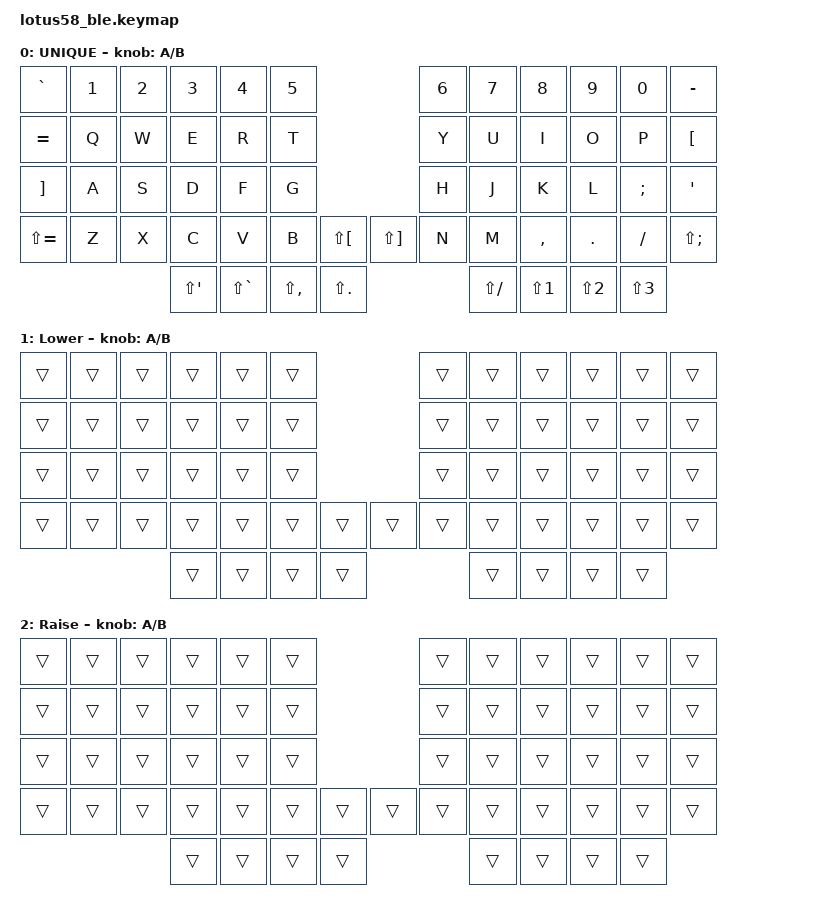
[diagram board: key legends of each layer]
// SPDX-License-Identifier: MIT

#include <behaviors.dtsi>
#include <dt-bindings/zmk/keys.h>
#include <dt-bindings/zmk/bt.h>
#include <dt-bindings/zmk/outputs.h>

/ {
    keymap {
        compatible = "zmk,keymap";

        // Every layer must hold exactly 58 bindings, matching keymap_transform_0:
        // 12 + 12 + 12 + 14 (row 4 carries the inner thumb key of both halves) + 8.
        // The default layer assigns a unique keycode to every position so that a
        // single press identifies the position it came from.
        default_layer {
            bindings = <
                &kp GRAVE     &kp N1  &kp N2  &kp N3  &kp N4  &kp N5                                    &kp N6  &kp N7    &kp N8    &kp N9  &kp N0     &kp MINUS
                &kp EQUAL     &kp Q   &kp W   &kp E   &kp R   &kp T                                     &kp Y   &kp U     &kp I     &kp O   &kp P      &kp LBKT
                &kp RBKT      &kp A   &kp S   &kp D   &kp F   &kp G                                     &kp H   &kp J     &kp K     &kp L   &kp SEMI   &kp SQT
                &kp LS(EQUAL) &kp Z   &kp X   &kp C   &kp V   &kp B   &kp LS(LBKT)    &kp LS(RBKT)      &kp N   &kp M     &kp COMMA &kp DOT &kp FSLH   &kp LS(SEMI)
                                              &kp LS(SQT) &kp LS(GRAVE) &kp LS(COMMA) &kp LS(DOT)       &kp LS(FSLH) &kp LS(N1) &kp LS(N2) &kp LS(N3)
            >;
            // One entry per sensor in &sensors (currently just &right_encoder).
            sensor-bindings = <&inc_dec_kp A B>;
            display-name = "UNIQUE";
        };

        lower_layer {
            bindings = <
&trans &trans &trans &trans &trans &trans                  &trans &trans &trans &trans &trans &trans
&trans &trans &trans &trans &trans &trans                  &trans &trans &trans &trans &trans &trans
&trans &trans &trans &trans &trans &trans                  &trans &trans &trans &trans &trans &trans
&trans &trans &trans &trans &trans &trans &trans    &trans &trans &trans &trans &trans &trans &trans
                     &trans &trans &trans &trans    &trans &trans &trans &trans
            >;
            // One entry per sensor in &sensors (currently just &right_encoder).
            sensor-bindings = <&inc_dec_kp A B>;
            display-name = "Lower";
        };

        raise_layer {
            bindings = <
&trans &trans &trans &trans &trans &trans                  &trans &trans &trans &trans &trans &trans
&trans &trans &trans &trans &trans &trans                  &trans &trans &trans &trans &trans &trans
&trans &trans &trans &trans &trans &trans                  &trans &trans &trans &trans &trans &trans
&trans &trans &trans &trans &trans &trans &trans    &trans &trans &trans &trans &trans &trans &trans
                     &trans &trans &trans &trans    &trans &trans &trans &trans
            >;
            // One entry per sensor in &sensors (currently just &right_encoder).
            sensor-bindings = <&inc_dec_kp A B>;
            display-name = "Raise";
        };
    };
};
